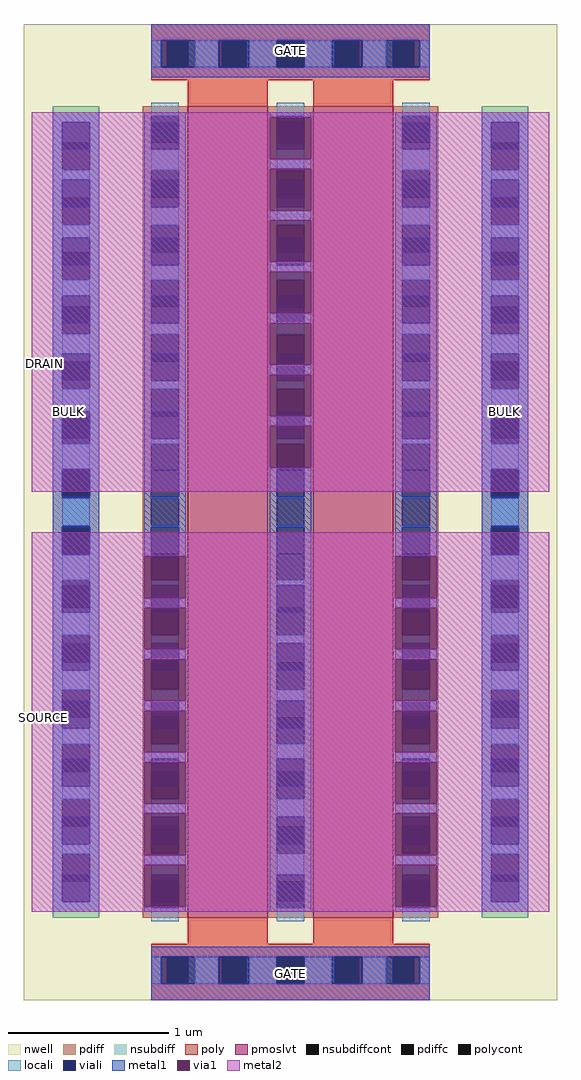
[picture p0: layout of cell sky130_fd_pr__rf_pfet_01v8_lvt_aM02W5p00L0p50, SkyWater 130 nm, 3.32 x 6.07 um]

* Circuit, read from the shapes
.subckt sky130_fd_pr__rf_pfet_01v8_lvt_aM02W5p00L0p50 BULK DRAIN GATE SOURCE
XM1 DRAIN GATE SOURCE BULK sky130_fd_pr__pfet_01v8_lvt w=5.05 l=0.5 m=2
.ends

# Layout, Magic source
magic
tech sky130A
magscale 1 2
<< nwell >>
rect 0 0 664 1214
<< pmoslvt >>
rect 204 102 304 1112
rect 360 102 460 1112
<< pdiff >>
rect 148 1100 204 1112
rect 148 1066 159 1100
rect 193 1066 204 1100
rect 148 1032 204 1066
rect 148 998 159 1032
rect 193 998 204 1032
rect 148 964 204 998
rect 148 930 159 964
rect 193 930 204 964
rect 148 896 204 930
rect 148 862 159 896
rect 193 862 204 896
rect 148 828 204 862
rect 148 794 159 828
rect 193 794 204 828
rect 148 760 204 794
rect 148 726 159 760
rect 193 726 204 760
rect 148 692 204 726
rect 148 658 159 692
rect 193 658 204 692
rect 148 624 204 658
rect 148 590 159 624
rect 193 590 204 624
rect 148 556 204 590
rect 148 522 159 556
rect 193 522 204 556
rect 148 488 204 522
rect 148 454 159 488
rect 193 454 204 488
rect 148 420 204 454
rect 148 386 159 420
rect 193 386 204 420
rect 148 352 204 386
rect 148 318 159 352
rect 193 318 204 352
rect 148 284 204 318
rect 148 250 159 284
rect 193 250 204 284
rect 148 216 204 250
rect 148 182 159 216
rect 193 182 204 216
rect 148 148 204 182
rect 148 114 159 148
rect 193 114 204 148
rect 148 102 204 114
rect 304 1100 360 1112
rect 304 1066 315 1100
rect 349 1066 360 1100
rect 304 1032 360 1066
rect 304 998 315 1032
rect 349 998 360 1032
rect 304 964 360 998
rect 304 930 315 964
rect 349 930 360 964
rect 304 896 360 930
rect 304 862 315 896
rect 349 862 360 896
rect 304 828 360 862
rect 304 794 315 828
rect 349 794 360 828
rect 304 760 360 794
rect 304 726 315 760
rect 349 726 360 760
rect 304 692 360 726
rect 304 658 315 692
rect 349 658 360 692
rect 304 624 360 658
rect 304 590 315 624
rect 349 590 360 624
rect 304 556 360 590
rect 304 522 315 556
rect 349 522 360 556
rect 304 488 360 522
rect 304 454 315 488
rect 349 454 360 488
rect 304 420 360 454
rect 304 386 315 420
rect 349 386 360 420
rect 304 352 360 386
rect 304 318 315 352
rect 349 318 360 352
rect 304 284 360 318
rect 304 250 315 284
rect 349 250 360 284
rect 304 216 360 250
rect 304 182 315 216
rect 349 182 360 216
rect 304 148 360 182
rect 304 114 315 148
rect 349 114 360 148
rect 304 102 360 114
rect 460 1100 516 1112
rect 460 1066 471 1100
rect 505 1066 516 1100
rect 460 1032 516 1066
rect 460 998 471 1032
rect 505 998 516 1032
rect 460 964 516 998
rect 460 930 471 964
rect 505 930 516 964
rect 460 896 516 930
rect 460 862 471 896
rect 505 862 516 896
rect 460 828 516 862
rect 460 794 471 828
rect 505 794 516 828
rect 460 760 516 794
rect 460 726 471 760
rect 505 726 516 760
rect 460 692 516 726
rect 460 658 471 692
rect 505 658 516 692
rect 460 624 516 658
rect 460 590 471 624
rect 505 590 516 624
rect 460 556 516 590
rect 460 522 471 556
rect 505 522 516 556
rect 460 488 516 522
rect 460 454 471 488
rect 505 454 516 488
rect 460 420 516 454
rect 460 386 471 420
rect 505 386 516 420
rect 460 352 516 386
rect 460 318 471 352
rect 505 318 516 352
rect 460 284 516 318
rect 460 250 471 284
rect 505 250 516 284
rect 460 216 516 250
rect 460 182 471 216
rect 505 182 516 216
rect 460 148 516 182
rect 460 114 471 148
rect 505 114 516 148
rect 460 102 516 114
<< pdiffc >>
rect 159 1066 193 1100
rect 159 998 193 1032
rect 159 930 193 964
rect 159 862 193 896
rect 159 794 193 828
rect 159 726 193 760
rect 159 658 193 692
rect 159 590 193 624
rect 159 522 193 556
rect 159 454 193 488
rect 159 386 193 420
rect 159 318 193 352
rect 159 250 193 284
rect 159 182 193 216
rect 159 114 193 148
rect 315 1066 349 1100
rect 315 998 349 1032
rect 315 930 349 964
rect 315 862 349 896
rect 315 794 349 828
rect 315 726 349 760
rect 315 658 349 692
rect 315 590 349 624
rect 315 522 349 556
rect 315 454 349 488
rect 315 386 349 420
rect 315 318 349 352
rect 315 250 349 284
rect 315 182 349 216
rect 315 114 349 148
rect 471 1066 505 1100
rect 471 998 505 1032
rect 471 930 505 964
rect 471 862 505 896
rect 471 794 505 828
rect 471 726 505 760
rect 471 658 505 692
rect 471 590 505 624
rect 471 522 505 556
rect 471 454 505 488
rect 471 386 505 420
rect 471 318 505 352
rect 471 250 505 284
rect 471 182 505 216
rect 471 114 505 148
<< nsubdiff >>
rect 36 1066 94 1112
rect 36 1032 48 1066
rect 82 1032 94 1066
rect 36 998 94 1032
rect 36 964 48 998
rect 82 964 94 998
rect 36 930 94 964
rect 36 896 48 930
rect 82 896 94 930
rect 36 862 94 896
rect 36 828 48 862
rect 82 828 94 862
rect 36 794 94 828
rect 36 760 48 794
rect 82 760 94 794
rect 36 726 94 760
rect 36 692 48 726
rect 82 692 94 726
rect 36 658 94 692
rect 36 624 48 658
rect 82 624 94 658
rect 36 590 94 624
rect 36 556 48 590
rect 82 556 94 590
rect 36 522 94 556
rect 36 488 48 522
rect 82 488 94 522
rect 36 454 94 488
rect 36 420 48 454
rect 82 420 94 454
rect 36 386 94 420
rect 36 352 48 386
rect 82 352 94 386
rect 36 318 94 352
rect 36 284 48 318
rect 82 284 94 318
rect 36 250 94 284
rect 36 216 48 250
rect 82 216 94 250
rect 36 182 94 216
rect 36 148 48 182
rect 82 148 94 182
rect 36 102 94 148
rect 570 1066 628 1112
rect 570 1032 582 1066
rect 616 1032 628 1066
rect 570 998 628 1032
rect 570 964 582 998
rect 616 964 628 998
rect 570 930 628 964
rect 570 896 582 930
rect 616 896 628 930
rect 570 862 628 896
rect 570 828 582 862
rect 616 828 628 862
rect 570 794 628 828
rect 570 760 582 794
rect 616 760 628 794
rect 570 726 628 760
rect 570 692 582 726
rect 616 692 628 726
rect 570 658 628 692
rect 570 624 582 658
rect 616 624 628 658
rect 570 590 628 624
rect 570 556 582 590
rect 616 556 628 590
rect 570 522 628 556
rect 570 488 582 522
rect 616 488 628 522
rect 570 454 628 488
rect 570 420 582 454
rect 616 420 628 454
rect 570 386 628 420
rect 570 352 582 386
rect 616 352 628 386
rect 570 318 628 352
rect 570 284 582 318
rect 616 284 628 318
rect 570 250 628 284
rect 570 216 582 250
rect 616 216 628 250
rect 570 182 628 216
rect 570 148 582 182
rect 616 148 628 182
rect 570 102 628 148
<< nsubdiffcont >>
rect 48 1032 82 1066
rect 48 964 82 998
rect 48 896 82 930
rect 48 828 82 862
rect 48 760 82 794
rect 48 692 82 726
rect 48 624 82 658
rect 48 556 82 590
rect 48 488 82 522
rect 48 420 82 454
rect 48 352 82 386
rect 48 284 82 318
rect 48 216 82 250
rect 48 148 82 182
rect 582 1032 616 1066
rect 582 964 616 998
rect 582 896 616 930
rect 582 828 616 862
rect 582 760 616 794
rect 582 692 616 726
rect 582 624 616 658
rect 582 556 616 590
rect 582 488 616 522
rect 582 420 616 454
rect 582 352 616 386
rect 582 284 616 318
rect 582 216 616 250
rect 582 148 616 182
<< poly >>
rect 159 1194 505 1214
rect 159 1160 179 1194
rect 213 1160 247 1194
rect 281 1160 315 1194
rect 349 1160 383 1194
rect 417 1160 451 1194
rect 485 1160 505 1194
rect 159 1144 505 1160
rect 204 1112 304 1144
rect 360 1112 460 1144
rect 204 70 304 102
rect 360 70 460 102
rect 159 54 505 70
rect 159 20 179 54
rect 213 20 247 54
rect 281 20 315 54
rect 349 20 383 54
rect 417 20 451 54
rect 485 20 505 54
rect 159 0 505 20
<< polycont >>
rect 179 1160 213 1194
rect 247 1160 281 1194
rect 315 1160 349 1194
rect 383 1160 417 1194
rect 451 1160 485 1194
rect 179 20 213 54
rect 247 20 281 54
rect 315 20 349 54
rect 383 20 417 54
rect 451 20 485 54
<< locali >>
rect 159 1160 171 1194
rect 213 1160 243 1194
rect 281 1160 315 1194
rect 349 1160 383 1194
rect 421 1160 451 1194
rect 493 1160 505 1194
rect 159 1100 193 1116
rect 48 1020 82 1032
rect 48 948 82 964
rect 48 876 82 896
rect 48 804 82 828
rect 48 732 82 760
rect 48 660 82 692
rect 48 590 82 624
rect 48 522 82 554
rect 48 454 82 482
rect 48 386 82 410
rect 48 318 82 338
rect 48 250 82 266
rect 48 182 82 194
rect 159 1032 193 1058
rect 159 964 193 986
rect 159 896 193 914
rect 159 828 193 842
rect 159 760 193 770
rect 159 692 193 698
rect 159 624 193 626
rect 159 588 193 590
rect 159 516 193 522
rect 159 444 193 454
rect 159 372 193 386
rect 159 300 193 318
rect 159 228 193 250
rect 159 156 193 182
rect 159 98 193 114
rect 315 1100 349 1116
rect 315 1032 349 1058
rect 315 964 349 986
rect 315 896 349 914
rect 315 828 349 842
rect 315 760 349 770
rect 315 692 349 698
rect 315 624 349 626
rect 315 588 349 590
rect 315 516 349 522
rect 315 444 349 454
rect 315 372 349 386
rect 315 300 349 318
rect 315 228 349 250
rect 315 156 349 182
rect 315 98 349 114
rect 471 1100 505 1116
rect 471 1032 505 1058
rect 471 964 505 986
rect 471 896 505 914
rect 471 828 505 842
rect 471 760 505 770
rect 471 692 505 698
rect 471 624 505 626
rect 471 588 505 590
rect 471 516 505 522
rect 471 444 505 454
rect 471 372 505 386
rect 471 300 505 318
rect 471 228 505 250
rect 471 156 505 182
rect 582 1020 616 1032
rect 582 948 616 964
rect 582 876 616 896
rect 582 804 616 828
rect 582 732 616 760
rect 582 660 616 692
rect 582 590 616 624
rect 582 522 616 554
rect 582 454 616 482
rect 582 386 616 410
rect 582 318 616 338
rect 582 250 616 266
rect 582 182 616 194
rect 471 98 505 114
rect 159 20 171 54
rect 213 20 243 54
rect 281 20 315 54
rect 349 20 383 54
rect 421 20 451 54
rect 493 20 505 54
<< viali >>
rect 171 1160 179 1194
rect 179 1160 205 1194
rect 243 1160 247 1194
rect 247 1160 277 1194
rect 315 1160 349 1194
rect 387 1160 417 1194
rect 417 1160 421 1194
rect 459 1160 485 1194
rect 485 1160 493 1194
rect 48 1066 82 1092
rect 48 1058 82 1066
rect 48 998 82 1020
rect 48 986 82 998
rect 48 930 82 948
rect 48 914 82 930
rect 48 862 82 876
rect 48 842 82 862
rect 48 794 82 804
rect 48 770 82 794
rect 48 726 82 732
rect 48 698 82 726
rect 48 658 82 660
rect 48 626 82 658
rect 48 556 82 588
rect 48 554 82 556
rect 48 488 82 516
rect 48 482 82 488
rect 48 420 82 444
rect 48 410 82 420
rect 48 352 82 372
rect 48 338 82 352
rect 48 284 82 300
rect 48 266 82 284
rect 48 216 82 228
rect 48 194 82 216
rect 48 148 82 156
rect 48 122 82 148
rect 159 1066 193 1092
rect 159 1058 193 1066
rect 159 998 193 1020
rect 159 986 193 998
rect 159 930 193 948
rect 159 914 193 930
rect 159 862 193 876
rect 159 842 193 862
rect 159 794 193 804
rect 159 770 193 794
rect 159 726 193 732
rect 159 698 193 726
rect 159 658 193 660
rect 159 626 193 658
rect 159 556 193 588
rect 159 554 193 556
rect 159 488 193 516
rect 159 482 193 488
rect 159 420 193 444
rect 159 410 193 420
rect 159 352 193 372
rect 159 338 193 352
rect 159 284 193 300
rect 159 266 193 284
rect 159 216 193 228
rect 159 194 193 216
rect 159 148 193 156
rect 159 122 193 148
rect 315 1066 349 1092
rect 315 1058 349 1066
rect 315 998 349 1020
rect 315 986 349 998
rect 315 930 349 948
rect 315 914 349 930
rect 315 862 349 876
rect 315 842 349 862
rect 315 794 349 804
rect 315 770 349 794
rect 315 726 349 732
rect 315 698 349 726
rect 315 658 349 660
rect 315 626 349 658
rect 315 556 349 588
rect 315 554 349 556
rect 315 488 349 516
rect 315 482 349 488
rect 315 420 349 444
rect 315 410 349 420
rect 315 352 349 372
rect 315 338 349 352
rect 315 284 349 300
rect 315 266 349 284
rect 315 216 349 228
rect 315 194 349 216
rect 315 148 349 156
rect 315 122 349 148
rect 471 1066 505 1092
rect 471 1058 505 1066
rect 471 998 505 1020
rect 471 986 505 998
rect 471 930 505 948
rect 471 914 505 930
rect 471 862 505 876
rect 471 842 505 862
rect 471 794 505 804
rect 471 770 505 794
rect 471 726 505 732
rect 471 698 505 726
rect 471 658 505 660
rect 471 626 505 658
rect 471 556 505 588
rect 471 554 505 556
rect 471 488 505 516
rect 471 482 505 488
rect 471 420 505 444
rect 471 410 505 420
rect 471 352 505 372
rect 471 338 505 352
rect 471 284 505 300
rect 471 266 505 284
rect 471 216 505 228
rect 471 194 505 216
rect 471 148 505 156
rect 471 122 505 148
rect 582 1066 616 1092
rect 582 1058 616 1066
rect 582 998 616 1020
rect 582 986 616 998
rect 582 930 616 948
rect 582 914 616 930
rect 582 862 616 876
rect 582 842 616 862
rect 582 794 616 804
rect 582 770 616 794
rect 582 726 616 732
rect 582 698 616 726
rect 582 658 616 660
rect 582 626 616 658
rect 582 556 616 588
rect 582 554 616 556
rect 582 488 616 516
rect 582 482 616 488
rect 582 420 616 444
rect 582 410 616 420
rect 582 352 616 372
rect 582 338 616 352
rect 582 284 616 300
rect 582 266 616 284
rect 582 216 616 228
rect 582 194 616 216
rect 582 148 616 156
rect 582 122 616 148
rect 171 20 179 54
rect 179 20 205 54
rect 243 20 247 54
rect 247 20 277 54
rect 315 20 349 54
rect 387 20 417 54
rect 417 20 421 54
rect 459 20 485 54
rect 485 20 493 54
<< metal1 >>
rect 159 1194 505 1214
rect 159 1160 171 1194
rect 205 1160 243 1194
rect 277 1160 315 1194
rect 349 1160 387 1194
rect 421 1160 459 1194
rect 493 1160 505 1194
rect 159 1148 505 1160
rect 36 1092 94 1104
rect 36 1058 48 1092
rect 82 1058 94 1092
rect 36 1020 94 1058
rect 36 986 48 1020
rect 82 986 94 1020
rect 36 948 94 986
rect 36 914 48 948
rect 82 914 94 948
rect 36 876 94 914
rect 36 842 48 876
rect 82 842 94 876
rect 36 804 94 842
rect 36 770 48 804
rect 82 770 94 804
rect 36 732 94 770
rect 36 698 48 732
rect 82 698 94 732
rect 36 660 94 698
rect 36 626 48 660
rect 82 626 94 660
rect 36 588 94 626
rect 36 554 48 588
rect 82 554 94 588
rect 36 516 94 554
rect 36 482 48 516
rect 82 482 94 516
rect 36 444 94 482
rect 36 410 48 444
rect 82 410 94 444
rect 36 372 94 410
rect 36 338 48 372
rect 82 338 94 372
rect 36 300 94 338
rect 36 266 48 300
rect 82 266 94 300
rect 36 228 94 266
rect 36 194 48 228
rect 82 194 94 228
rect 36 156 94 194
rect 36 122 48 156
rect 82 122 94 156
rect 36 110 94 122
rect 150 1092 202 1104
rect 150 1058 159 1092
rect 193 1058 202 1092
rect 150 1020 202 1058
rect 150 986 159 1020
rect 193 986 202 1020
rect 150 948 202 986
rect 150 914 159 948
rect 193 914 202 948
rect 150 876 202 914
rect 150 842 159 876
rect 193 842 202 876
rect 150 804 202 842
rect 150 770 159 804
rect 193 770 202 804
rect 150 732 202 770
rect 150 698 159 732
rect 193 698 202 732
rect 150 660 202 698
rect 150 626 159 660
rect 193 626 202 660
rect 150 588 202 626
rect 150 554 159 588
rect 193 554 202 588
rect 150 552 202 554
rect 150 488 159 500
rect 193 488 202 500
rect 150 424 159 436
rect 193 424 202 436
rect 150 360 159 372
rect 193 360 202 372
rect 150 300 202 308
rect 150 296 159 300
rect 193 296 202 300
rect 150 232 202 244
rect 150 168 202 180
rect 150 110 202 116
rect 306 1098 358 1104
rect 306 1034 358 1046
rect 306 970 358 982
rect 306 914 315 918
rect 349 914 358 918
rect 306 906 358 914
rect 306 842 315 854
rect 349 842 358 854
rect 306 778 315 790
rect 349 778 358 790
rect 306 714 315 726
rect 349 714 358 726
rect 306 660 358 662
rect 306 626 315 660
rect 349 626 358 660
rect 306 588 358 626
rect 306 554 315 588
rect 349 554 358 588
rect 306 516 358 554
rect 306 482 315 516
rect 349 482 358 516
rect 306 444 358 482
rect 306 410 315 444
rect 349 410 358 444
rect 306 372 358 410
rect 306 338 315 372
rect 349 338 358 372
rect 306 300 358 338
rect 306 266 315 300
rect 349 266 358 300
rect 306 228 358 266
rect 306 194 315 228
rect 349 194 358 228
rect 306 156 358 194
rect 306 122 315 156
rect 349 122 358 156
rect 306 110 358 122
rect 462 1092 514 1104
rect 462 1058 471 1092
rect 505 1058 514 1092
rect 462 1020 514 1058
rect 462 986 471 1020
rect 505 986 514 1020
rect 462 948 514 986
rect 462 914 471 948
rect 505 914 514 948
rect 462 876 514 914
rect 462 842 471 876
rect 505 842 514 876
rect 462 804 514 842
rect 462 770 471 804
rect 505 770 514 804
rect 462 732 514 770
rect 462 698 471 732
rect 505 698 514 732
rect 462 660 514 698
rect 462 626 471 660
rect 505 626 514 660
rect 462 588 514 626
rect 462 554 471 588
rect 505 554 514 588
rect 462 552 514 554
rect 462 488 471 500
rect 505 488 514 500
rect 462 424 471 436
rect 505 424 514 436
rect 462 360 471 372
rect 505 360 514 372
rect 462 300 514 308
rect 462 296 471 300
rect 505 296 514 300
rect 462 232 514 244
rect 462 168 514 180
rect 462 110 514 116
rect 570 1092 628 1104
rect 570 1058 582 1092
rect 616 1058 628 1092
rect 570 1020 628 1058
rect 570 986 582 1020
rect 616 986 628 1020
rect 570 948 628 986
rect 570 914 582 948
rect 616 914 628 948
rect 570 876 628 914
rect 570 842 582 876
rect 616 842 628 876
rect 570 804 628 842
rect 570 770 582 804
rect 616 770 628 804
rect 570 732 628 770
rect 570 698 582 732
rect 616 698 628 732
rect 570 660 628 698
rect 570 626 582 660
rect 616 626 628 660
rect 570 588 628 626
rect 570 554 582 588
rect 616 554 628 588
rect 570 516 628 554
rect 570 482 582 516
rect 616 482 628 516
rect 570 444 628 482
rect 570 410 582 444
rect 616 410 628 444
rect 570 372 628 410
rect 570 338 582 372
rect 616 338 628 372
rect 570 300 628 338
rect 570 266 582 300
rect 616 266 628 300
rect 570 228 628 266
rect 570 194 582 228
rect 616 194 628 228
rect 570 156 628 194
rect 570 122 582 156
rect 616 122 628 156
rect 570 110 628 122
rect 159 54 505 66
rect 159 20 171 54
rect 205 20 243 54
rect 277 20 315 54
rect 349 20 387 54
rect 421 20 459 54
rect 493 20 505 54
rect 159 0 505 20
<< via1 >>
rect 150 516 202 552
rect 150 500 159 516
rect 159 500 193 516
rect 193 500 202 516
rect 150 482 159 488
rect 159 482 193 488
rect 193 482 202 488
rect 150 444 202 482
rect 150 436 159 444
rect 159 436 193 444
rect 193 436 202 444
rect 150 410 159 424
rect 159 410 193 424
rect 193 410 202 424
rect 150 372 202 410
rect 150 338 159 360
rect 159 338 193 360
rect 193 338 202 360
rect 150 308 202 338
rect 150 266 159 296
rect 159 266 193 296
rect 193 266 202 296
rect 150 244 202 266
rect 150 228 202 232
rect 150 194 159 228
rect 159 194 193 228
rect 193 194 202 228
rect 150 180 202 194
rect 150 156 202 168
rect 150 122 159 156
rect 159 122 193 156
rect 193 122 202 156
rect 150 116 202 122
rect 306 1092 358 1098
rect 306 1058 315 1092
rect 315 1058 349 1092
rect 349 1058 358 1092
rect 306 1046 358 1058
rect 306 1020 358 1034
rect 306 986 315 1020
rect 315 986 349 1020
rect 349 986 358 1020
rect 306 982 358 986
rect 306 948 358 970
rect 306 918 315 948
rect 315 918 349 948
rect 349 918 358 948
rect 306 876 358 906
rect 306 854 315 876
rect 315 854 349 876
rect 349 854 358 876
rect 306 804 358 842
rect 306 790 315 804
rect 315 790 349 804
rect 349 790 358 804
rect 306 770 315 778
rect 315 770 349 778
rect 349 770 358 778
rect 306 732 358 770
rect 306 726 315 732
rect 315 726 349 732
rect 349 726 358 732
rect 306 698 315 714
rect 315 698 349 714
rect 349 698 358 714
rect 306 662 358 698
rect 462 516 514 552
rect 462 500 471 516
rect 471 500 505 516
rect 505 500 514 516
rect 462 482 471 488
rect 471 482 505 488
rect 505 482 514 488
rect 462 444 514 482
rect 462 436 471 444
rect 471 436 505 444
rect 505 436 514 444
rect 462 410 471 424
rect 471 410 505 424
rect 505 410 514 424
rect 462 372 514 410
rect 462 338 471 360
rect 471 338 505 360
rect 505 338 514 360
rect 462 308 514 338
rect 462 266 471 296
rect 471 266 505 296
rect 505 266 514 296
rect 462 244 514 266
rect 462 228 514 232
rect 462 194 471 228
rect 471 194 505 228
rect 505 194 514 228
rect 462 180 514 194
rect 462 156 514 168
rect 462 122 471 156
rect 471 122 505 156
rect 505 122 514 156
rect 462 116 514 122
<< metal2 >>
rect 10 1098 654 1104
rect 10 1046 306 1098
rect 358 1046 654 1098
rect 10 1034 654 1046
rect 10 982 306 1034
rect 358 982 654 1034
rect 10 970 654 982
rect 10 918 306 970
rect 358 918 654 970
rect 10 906 654 918
rect 10 854 306 906
rect 358 854 654 906
rect 10 842 654 854
rect 10 790 306 842
rect 358 790 654 842
rect 10 778 654 790
rect 10 726 306 778
rect 358 726 654 778
rect 10 714 654 726
rect 10 662 306 714
rect 358 662 654 714
rect 10 632 654 662
rect 10 552 654 582
rect 10 500 150 552
rect 202 500 462 552
rect 514 500 654 552
rect 10 488 654 500
rect 10 436 150 488
rect 202 436 462 488
rect 514 436 654 488
rect 10 424 654 436
rect 10 372 150 424
rect 202 372 462 424
rect 514 372 654 424
rect 10 360 654 372
rect 10 308 150 360
rect 202 308 462 360
rect 514 308 654 360
rect 10 296 654 308
rect 10 244 150 296
rect 202 244 462 296
rect 514 244 654 296
rect 10 232 654 244
rect 10 180 150 232
rect 202 180 462 232
rect 514 180 654 232
rect 10 168 654 180
rect 10 116 150 168
rect 202 116 462 168
rect 514 116 654 168
rect 10 110 654 116
<< labels >>
flabel metal2 s 16 757 35 827 0 FreeSans 400 90 0 0 DRAIN
port 2 nsew
flabel metal2 s 14 320 35 384 0 FreeSans 400 90 0 0 SOURCE
port 4 nsew
flabel metal1 s 159 1148 505 1214 0 FreeSans 300 0 0 0 GATE
port 3 nsew
flabel metal1 s 159 0 505 66 0 FreeSans 300 0 0 0 GATE
port 3 nsew
flabel metal1 s 56 732 56 732 7 FreeSans 400 90 0 0 BULK
port 1 nsew
flabel metal1 s 598 732 598 732 7 FreeSans 400 90 0 0 BULK
port 1 nsew
<< properties >>
string GDS_FILE $PDKPATH/libs.ref/sky130_fd_pr/gds/sky130_fd_pr.gds
string GDS_END 9989442
string GDS_START 9973406
<< end >>
